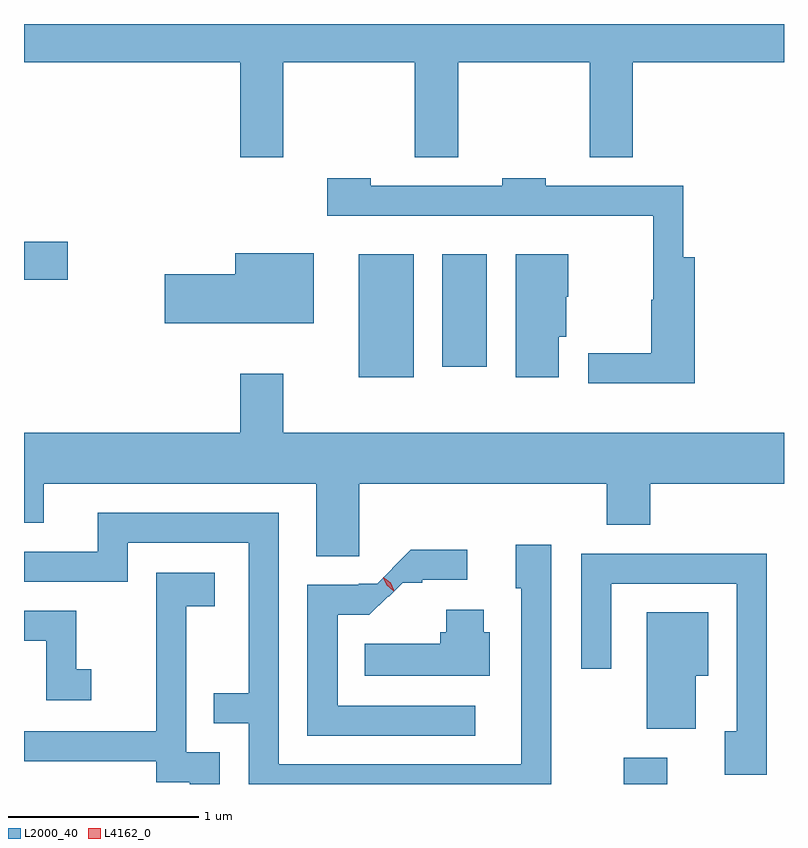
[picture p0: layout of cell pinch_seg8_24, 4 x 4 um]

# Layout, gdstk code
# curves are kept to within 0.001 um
import gdstk
lib = gdstk.Library(unit=1e-6, precision=1e-09)
def R(c, l, rs):  # rectangles x0, y0, x1, y1
    for r in rs: c.add(gdstk.rectangle(r[:2], r[2:], *l))
def P(c, l, *ps):  # polygons
    for p in ps: c.add(gdstk.Polygon(p, *l))
L2000_40 = (2000, 40)
L4162_0 = (4162, 0)

pinch_seg8_24 = lib.new_cell('pinch_seg8_24')
R(pinch_seg8_24, L2000_40, [(1130.871,1825.956,1131.099,1826.094), (1129.476,1828.096,1129.764,1828.744), (1129.916,1828.151,1130.149,1828.744), (1127.714,1828.611,1127.944,1828.809)])
P(pinch_seg8_24, L2000_40, [(1129.079,1829.756),(1129.771,1829.756),(1129.771,1829.256),(1129.999,1829.256),(1129.999,1829.756),(1130.691,1829.756),(1130.691,1829.256),(1130.919,1829.256),(1130.919,1829.756),(1131.714,1829.756),(1131.714,1829.956),(1127.714,1829.956),(1127.714,1829.756),(1128.851,1829.756),(1128.851,1829.256),(1129.079,1829.256)],
  [(1131.244,1828.729),(1131.184,1828.729),(1131.184,1829.104),(1130.459,1829.104),(1130.459,1829.144),(1130.231,1829.144),(1130.231,1829.104),(1129.539,1829.104),(1129.539,1829.144),(1129.311,1829.144),(1129.311,1828.946),(1131.026,1828.946),(1131.026,1828.505),(1131.016,1828.505),(1131.016,1828.224),(1130.683,1828.224),(1130.683,1828.066),(1131.244,1828.066)],
  [(1129.239,1828.749),(1128.826,1828.749),(1128.826,1828.639),(1128.456,1828.639),(1128.456,1828.381),(1129.239,1828.381)],
  [(1130.529,1828.311),(1130.569,1828.311),(1130.569,1828.52),(1130.579,1828.52),(1130.579,1828.744),(1130.301,1828.744),(1130.301,1828.096),(1130.529,1828.096)],
  [(1129.479,1827.536),(1130.781,1827.536),(1130.781,1827.321),(1131.009,1827.321),(1131.009,1827.536),(1131.714,1827.536),(1131.714,1827.804),(1129.079,1827.804),(1129.079,1828.114),(1128.851,1828.114),(1128.851,1827.804),(1127.714,1827.804),(1127.714,1827.331),(1127.819,1827.331),(1127.819,1827.536),(1129.251,1827.536),(1129.251,1827.156),(1129.479,1827.156)],
  [(1130.489,1827.214),(1130.301,1827.214),(1130.301,1826.986),(1130.331,1826.986),(1130.331,1826.059),(1129.054,1826.059),(1129.054,1827.384),(1128.101,1827.384),(1128.101,1827.179),(1127.714,1827.179),(1127.714,1827.021),(1128.259,1827.021),(1128.259,1827.226),(1128.896,1827.226),(1128.896,1826.434),(1128.713,1826.434),(1128.713,1826.276),(1128.896,1826.276),(1128.896,1825.956),(1130.489,1825.956)],
  [(1130.088,1826.369),(1129.364,1826.369),(1129.364,1826.846),(1129.532,1826.846),(1129.631,1826.945),(1129.634,1826.941),(1129.708,1827.015),(1129.809,1827.015),(1129.809,1827.031),(1130.048,1827.031),(1130.048,1827.189),(1129.75,1827.189),(1129.574,1827.011),(1129.475,1827.011),(1129.475,1827.004),(1129.206,1827.004),(1129.206,1826.211),(1130.088,1826.211)],
  [(1131.624,1827.169),(1130.646,1827.169),(1130.646,1826.563),(1130.804,1826.563),(1130.804,1827.011),(1131.466,1827.011),(1131.466,1826.234),(1131.401,1826.234),(1131.401,1826.006),(1131.624,1826.006)],
  [(1128.744,1826.124),(1128.569,1826.124),(1128.569,1826.891),(1128.719,1826.891),(1128.719,1827.069),(1128.411,1827.069),(1128.411,1826.234),(1127.714,1826.234),(1127.714,1826.076),(1128.411,1826.076),(1128.411,1825.966),(1128.586,1825.966),(1128.586,1825.956),(1128.744,1825.956)],
  [(1130.164,1826.754),(1130.134,1826.754),(1130.134,1826.874),(1129.936,1826.874),(1129.936,1826.754),(1129.906,1826.754),(1129.906,1826.694),(1129.508,1826.694),(1129.508,1826.526),(1130.164,1826.526)],
  [(1128.068,1826.559),(1127.989,1826.559),(1127.989,1826.869),(1127.714,1826.869),(1127.714,1826.711),(1127.831,1826.711),(1127.831,1826.396),(1128.068,1826.396)],
  [(1131.249,1826.526),(1131.314,1826.526),(1131.314,1826.859),(1130.991,1826.859),(1130.991,1826.246),(1131.249,1826.246)])
P(pinch_seg8_24, L4162_0, [(1129.659,1826.971),(1129.624,1827.001),(1129.606,1827.042),(1129.606,1827.043),(1129.606,1827.043),(1129.641,1827.013),(1129.659,1826.972),(1129.659,1826.971)],
  [(1129.658,1826.978),(1129.627,1827.003),(1129.611,1827.039),(1129.611,1827.04),(1129.612,1827.04),(1129.643,1827.015),(1129.659,1826.979),(1129.659,1826.978)])

lib.write_gds('pinch_seg8_24.gds')
